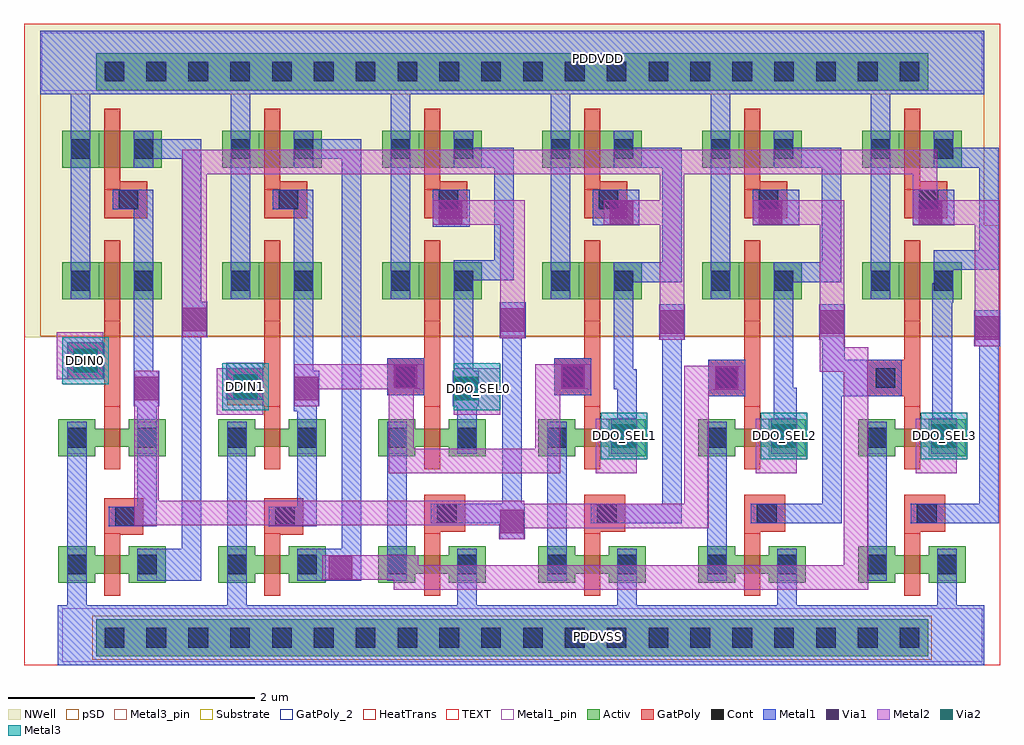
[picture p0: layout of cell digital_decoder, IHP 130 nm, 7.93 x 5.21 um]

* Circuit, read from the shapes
.subckt digital_decoder DDIN0 DDIN1 DDO_SEL0 DDO_SEL1 DDO_SEL2 DDO_SEL3 PDDVDD PDDVSS
XM1 n1 n2 PDDVSS PDDVSS sg13_lv_nmos w=0.15u l=0.13u
XM2 n2 DDIN0 PDDVSS PDDVSS sg13_lv_nmos w=0.15u l=0.13u
XM3 n3 n4 PDDVSS PDDVSS sg13_lv_nmos w=0.15u l=0.13u
XM4 n4 DDIN1 PDDVSS PDDVSS sg13_lv_nmos w=0.15u l=0.13u
XM5 PDDVSS n2 n5 PDDVSS sg13_lv_nmos w=0.15u l=0.13u
XM6 DDO_SEL0 n4 n5 PDDVSS sg13_lv_nmos w=0.15u l=0.13u
XM7 PDDVSS n1 n6 PDDVSS sg13_lv_nmos w=0.15u l=0.13u
XM8 DDO_SEL1 n4 n6 PDDVSS sg13_lv_nmos w=0.15u l=0.13u
XM9 PDDVSS n3 n7 PDDVSS sg13_lv_nmos w=0.15u l=0.13u
XM10 DDO_SEL2 n2 n7 PDDVSS sg13_lv_nmos w=0.15u l=0.13u
XM11 PDDVSS n1 n8 PDDVSS sg13_lv_nmos w=0.15u l=0.13u
XM12 DDO_SEL3 n3 n8 PDDVSS sg13_lv_nmos w=0.15u l=0.13u
XM13 n2 DDIN0 PDDVDD PDDVDD sg13_lv_pmos w=0.3u l=0.13u
XM14 n1 n2 PDDVDD PDDVDD sg13_lv_pmos w=0.3u l=0.13u
XM15 n4 DDIN1 PDDVDD PDDVDD sg13_lv_pmos w=0.3u l=0.13u
XM16 n3 n4 PDDVDD PDDVDD sg13_lv_pmos w=0.3u l=0.13u
XM17 DDO_SEL0 n4 PDDVDD PDDVDD sg13_lv_pmos w=0.3u l=0.13u
XM18 DDO_SEL0 n2 PDDVDD PDDVDD sg13_lv_pmos w=0.3u l=0.13u
XM19 DDO_SEL1 n4 PDDVDD PDDVDD sg13_lv_pmos w=0.3u l=0.13u
XM20 DDO_SEL1 n1 PDDVDD PDDVDD sg13_lv_pmos w=0.3u l=0.13u
XM21 DDO_SEL2 n2 PDDVDD PDDVDD sg13_lv_pmos w=0.3u l=0.13u
XM22 DDO_SEL2 n3 PDDVDD PDDVDD sg13_lv_pmos w=0.3u l=0.13u
XM23 DDO_SEL3 n3 PDDVDD PDDVDD sg13_lv_pmos w=0.3u l=0.13u
XM24 DDO_SEL3 n1 PDDVDD PDDVDD sg13_lv_pmos w=0.3u l=0.13u
.ends

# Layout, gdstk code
from math import pi, radians
import gdstk
lib = gdstk.Library(unit=1e-6, precision=5e-09)
def R(c, l, rs):  # rectangles x0, y0, x1, y1
    for r in rs: c.add(gdstk.rectangle(r[:2], r[2:], *l))
def A(c, l, x, y, w, h, nx, ny, dx, dy):  # array of equal rectangles
    R(c, l, [(x+i*dx, y+j*dy, x+i*dx+w, y+j*dy+h) for i in range(nx) for j in range(ny)])
Activ = (1, 0)
GatPoly = (5, 0)
GatPoly_2 = (5, 2)
Cont = (6, 0)
Metal1 = (8, 0)
Metal1_pin = (8, 2)
Metal2 = (10, 0)
pSD = (14, 0)
Via1 = (19, 0)
Via2 = (29, 0)
Metal3 = (30, 0)
Metal3_pin = (30, 2)
NWell = (31, 0)
Substrate = (40, 0)
HeatTrans = (51, 0)
TEXT = (63, 0)

pmos_1 = lib.new_cell('pmos$1')
R(pmos_1, Activ, [(0,0,0.3,0.3), (0,0,0.81,0.3), (0.51,0,0.81,0.3)])
R(pmos_1, GatPoly, [(0.34,-0.18,0.47,0.48), (0.34,-0.18,0.47,0.48)])
R(pmos_1, Cont, [(0.07,0.07,0.23,0.23), (0.58,0.07,0.74,0.23)])
R(pmos_1, Metal1, [(0.07,0,0.23,0.3), (0.07,0,0.23,0.3), (0.58,0,0.74,0.3), (0.58,0,0.74,0.3)])
R(pmos_1, pSD, [(-0.18,-0.3,0.99,0.6)])
R(pmos_1, NWell, [(-0.31,-0.31,1.12,0.61)])
R(pmos_1, Substrate, [(0.51,0,0.81,0.3)])
R(pmos_1, HeatTrans, [(0.34,-0.18,0.47,0.48)])
pmos_1.add(gdstk.Label('pmos', (0.405,0.15), layer=63, texttype=0))
pmos_1.add(gdstk.Label('pmos', (0.405,0.15), layer=51, texttype=0))

nmos = lib.new_cell('nmos')
R(nmos, Activ, [(0,0,0.3,0.3), (0.57,0,0.87,0.3), (0,0.075,0.87,0.225)])
R(nmos, GatPoly, [(0.37,-0.105,0.5,0.405)])
R(nmos, GatPoly_2, [(0.37,-0.105,0.5,0.405)])
R(nmos, Cont, [(0.07,0.07,0.23,0.23), (0.64,0.07,0.8,0.23)])
R(nmos, Metal1, [(0.07,0.02,0.23,0.28), (0.64,0.02,0.8,0.28)])
R(nmos, Metal1_pin, [(0.07,0.02,0.23,0.28), (0.64,0.02,0.8,0.28)])
R(nmos, HeatTrans, [(0.37,-0.105,0.5,0.405)])
nmos.add(gdstk.Label('nmos', (0.435,0.15), layer=63, texttype=0))
nmos.add(gdstk.Label('nmos', (0.435,0.15), layer=51, texttype=0))

via_stack_6 = lib.new_cell('via_stack$6')
R(via_stack_6, Activ, [(-3.38,-0.15,3.38,0.15)])
A(via_stack_6, Cont, -3.31, -0.08, 0.16, 0.16, 20, 1, 0.34, 0)
R(via_stack_6, Metal1, [(-3.36,-0.08,3.36,0.08)])

via_stack_2 = lib.new_cell('via_stack$2')
R(via_stack_2, GatPoly, [(-0.15,-0.15,0.15,0.15)])
R(via_stack_2, Cont, [(-0.08,-0.08,0.08,0.08)])
R(via_stack_2, Metal1, [(-0.13,-0.08,0.13,0.08)])

via_stack_1 = lib.new_cell('via_stack$1')
R(via_stack_1, Metal1, [(-0.145,-0.105,0.145,0.105)])
R(via_stack_1, Metal2, [(-0.145,-0.1,0.145,0.1)])
R(via_stack_1, Via1, [(-0.095,-0.095,0.095,0.095)])

via_stack_4 = lib.new_cell('via_stack$4')
R(via_stack_4, GatPoly, [(-0.15,-0.15,0.15,0.15)])
R(via_stack_4, Cont, [(-0.08,-0.08,0.08,0.08)])
R(via_stack_4, Metal1, [(-0.145,-0.105,0.145,0.105)])
R(via_stack_4, Metal2, [(-0.145,-0.1,0.145,0.1)])
R(via_stack_4, Via1, [(-0.095,-0.095,0.095,0.095)])
R(via_stack_4, Via2, [(-0.095,-0.095,0.095,0.095)])
R(via_stack_4, Metal3, [(-0.145,-0.1,0.145,0.1)])

via_stack_3 = lib.new_cell('via_stack$3')
R(via_stack_3, GatPoly, [(-0.15,-0.15,0.15,0.15)])
R(via_stack_3, Cont, [(-0.08,-0.08,0.08,0.08)])
R(via_stack_3, Metal1, [(-0.145,-0.105,0.145,0.105)])
R(via_stack_3, Metal2, [(-0.145,-0.1,0.145,0.1)])
R(via_stack_3, Via1, [(-0.095,-0.095,0.095,0.095)])

via_stack_5 = lib.new_cell('via_stack$5')
R(via_stack_5, Metal1, [(-0.145,-0.105,0.145,0.105)])
R(via_stack_5, Metal2, [(-0.145,-0.1,0.145,0.1)])
R(via_stack_5, Via1, [(-0.095,-0.095,0.095,0.095)])
R(via_stack_5, Via2, [(-0.095,-0.095,0.095,0.095)])
R(via_stack_5, Metal3, [(-0.145,-0.1,0.145,0.1)])

digital_decoder = lib.new_cell('digital_decoder')
A(digital_decoder, GatPoly, 4, 2.165, 0.13, 0.31, 4, 1, 1.3, 0)
A(digital_decoder, GatPoly, 1.4, 3.195, 0.13, 0.69, 6, 1, 1.3, 0)
A(digital_decoder, GatPoly, 1.4, 4.725, 0.05, 0.23, 6, 1, 1.3, 0)
R(digital_decoder, GatPoly, [(1.4,2.165,1.42,2.45), (2.7,2.165,2.72,2.45), (7.9,2.165,8.03,2.475)])
R(digital_decoder, Metal1, [(1.025,1.09,8.55,1.58), (1.1,1.53,1.26,1.78), (2.4,1.53,2.56,1.78), (6.87,1.53,7.03,1.78), (8.17,1.53,8.33,1.78), (1.83,1.78,2.19,2.04), (3.13,1.78,3.49,2.04), (6.84,3.07,6.87,3.185), (2.395,3.25,2.695,3.55), (6.31,3.275,6.61,3.575), (7.395,3.275,7.6,3.575), (7.6,3.275,7.88,3.575), (3.7,3.285,4,3.585), (5.06,3.285,5.36,3.585), (1.1,3.415,1.4,3.715), (7.395,3.575,7.42,3.735), (4.07,4.655,4.37,4.955), (5.37,4.665,5.75,4.955), (6.67,4.665,7.05,4.955), (7.97,4.665,8.31,4.955), (0.88,5.73,8.55,6.245)])
R(digital_decoder, Metal1_pin, [(1.06,1.12,8.535,1.555), (0.895,5.76,8.535,6.23)])
A(digital_decoder, Metal2, 5.395, 2.65, 0.335, 0.445, 3, 1, 1.3, 0)
R(digital_decoder, Metal2, [(2.315,3.125,2.695,3.505), (4.24,3.125,4.62,3.505), (4.24,3.125,4.62,3.505), (1.015,3.415,1.395,3.795)])
R(digital_decoder, pSD, [(1.305,1.135,8.125,1.495), (0.88,3.765,8.55,5.735), (8.55,3.765,8.68,4.665)])
A(digital_decoder, Metal3, 5.435, 2.765, 0.38, 0.38, 3, 1, 1.3, 0)
R(digital_decoder, Metal3, [(2.36,3.165,2.74,3.545), (4.24,3.165,4.62,3.545), (1.06,3.375,1.44,3.755)])
A(digital_decoder, Metal3_pin, 5.435, 2.765, 0.38, 0.38, 3, 1, 1.3, 0)
R(digital_decoder, Metal3_pin, [(2.36,3.165,2.74,3.545), (4.24,3.165,4.62,3.545), (1.06,3.375,1.44,3.755)])
R(digital_decoder, NWell, [(0.75,3.755,8.68,6.305)])
R(digital_decoder, TEXT, [(0.75,1.09,8.68,6.305)])
digital_decoder.add(gdstk.FlexPath([(3.81,5.435),(3.81,5.835)], 0.16, ends="flush", simple_path=True, layer=8, datatype=0))  # Metal1
digital_decoder.add(gdstk.FlexPath([(3.78,2.04),(3.78,2.81),(3.78,2.81)], 0.16, ends="flush", simple_path=True, layer=8, datatype=0))  # Metal1
digital_decoder.add(gdstk.FlexPath([(4.35,1.78),(4.35,1.555)], 0.16, ends="flush", simple_path=True, layer=8, datatype=0))  # Metal1
digital_decoder.add(gdstk.FlexPath([(3.81,4.365),(3.81,5.135)], 0.16, ends="flush", simple_path=True, layer=8, datatype=0))  # Metal1
digital_decoder.add(gdstk.FlexPath([(4.32,5.365),(4.32,5.215),(4.65,5.215),(4.65,4.3),(4.65,4.3),(4.32,4.3),(4.32,3.295),(4.35,3.295),(4.35,3.07)], 0.16, ends="flush", simple_path=True, layer=8, datatype=0))  # Metal1
digital_decoder.add(gdstk.FlexPath([(5.11,4.365),(5.11,5.835)], 0.16, ends="flush", simple_path=True, layer=8, datatype=0))  # Metal1
digital_decoder.add(gdstk.FlexPath([(5.62,4.135),(5.62,4.285),(6.015,4.285),(6.015,5.215),(5.62,5.215),(5.62,5.435)], 0.16, ends="flush", simple_path=True, layer=8, datatype=0))  # Metal1
digital_decoder.add(gdstk.FlexPath([(5.62,4.215),(5.62,3.415),(5.65,3.415),(5.65,3.07)], 0.16, ends="flush", simple_path=True, layer=8, datatype=0))  # Metal1
digital_decoder.add(gdstk.FlexPath([(5.08,2.81),(5.08,2.04)], 0.16, ends="flush", simple_path=True, layer=8, datatype=0))  # Metal1
digital_decoder.add(gdstk.FlexPath([(5.65,1.78),(5.65,1.5)], 0.16, ends="flush", simple_path=True, layer=8, datatype=0))  # Metal1
digital_decoder.add(gdstk.FlexPath([(6.41,4.365),(6.41,5.835)], 0.16, ends="flush", simple_path=True, layer=8, datatype=0))  # Metal1
digital_decoder.add(gdstk.FlexPath([(6.92,5.435),(6.92,5.215),(7.31,5.215),(7.31,4.285),(6.92,4.285),(6.92,4.065)], 0.16, ends="flush", simple_path=True, layer=8, datatype=0))  # Metal1
digital_decoder.add(gdstk.FlexPath([(6.92,4.135),(6.92,3.265),(6.95,3.265),(6.95,3.015),(6.95,3.015)], 0.16, ends="flush", simple_path=True, layer=8, datatype=0))  # Metal1
digital_decoder.add(gdstk.FlexPath([(6.38,2.86),(6.38,1.99)], 0.16, ends="flush", simple_path=True, layer=8, datatype=0))  # Metal1
digital_decoder.add(gdstk.FlexPath([(4.265,2.325),(4.715,2.325),(4.715,3.93),(4.715,3.93)], 0.16, ends="flush", simple_path=True, layer=8, datatype=0))  # Metal1
digital_decoder.add(gdstk.FlexPath([(5.565,2.325),(6.015,2.325),(6.015,3.93),(6.015,3.93)], 0.16, ends="flush", simple_path=True, layer=8, datatype=0))  # Metal1
digital_decoder.add(gdstk.FlexPath([(7.71,5.135),(7.71,4.365)], 0.16, ends="flush", simple_path=True, layer=8, datatype=0))  # Metal1
digital_decoder.add(gdstk.FlexPath([(6.865,2.325),(7.315,2.325),(7.315,3.93),(7.315,3.93)], 0.16, ends="flush", simple_path=True, layer=8, datatype=0))  # Metal1
digital_decoder.add(gdstk.FlexPath([(8.14,2.325),(8.59,2.325),(8.59,3.93),(8.59,3.93)], 0.16, ends="flush", simple_path=True, layer=8, datatype=0))  # Metal1
digital_decoder.add(gdstk.FlexPath([(8.22,4.365),(8.22,4.115),(8.21,4.115),(8.21,2.81),(8.21,2.81)], 0.16, ends="flush", simple_path=True, layer=8, datatype=0))  # Metal1
digital_decoder.add(gdstk.FlexPath([(7.71,5.365),(7.71,5.76)], 0.16, ends="flush", simple_path=True, layer=8, datatype=0))  # Metal1
digital_decoder.add(gdstk.FlexPath([(7.68,3.07),(7.68,2.04)], 0.16, ends="flush", simple_path=True, layer=8, datatype=0))  # Metal1
digital_decoder.add(gdstk.FlexPath([(8.22,4.185),(8.22,4.385),(8.59,4.385),(8.59,5.215),(8.22,5.215),(8.22,5.365)], 0.16, ends="flush", simple_path=True, layer=8, datatype=0))  # Metal1
digital_decoder.add(gdstk.FlexPath([(1.75,2.96),(1.75,3.275),(1.72,3.275),(1.72,4.065)], 0.16, ends="flush", simple_path=True, layer=8, datatype=0))  # Metal1
digital_decoder.add(gdstk.FlexPath([(1.21,4.365),(1.21,5.735)], 0.16, ends="flush", simple_path=True, layer=8, datatype=0))  # Metal1
digital_decoder.add(gdstk.FlexPath([(3.02,4.065),(3.02,3.235),(3.05,3.235),(3.05,3.07)], 0.16, ends="flush", simple_path=True, layer=8, datatype=0))  # Metal1
digital_decoder.add(gdstk.FlexPath([(1.8,5.285),(2.11,5.285),(2.11,1.91),(1.83,1.91)], 0.16, ends="flush", simple_path=True, layer=8, datatype=0))  # Metal1
digital_decoder.add(gdstk.FlexPath([(2.51,4.365),(2.51,5.735)], 0.16, ends="flush", simple_path=True, layer=8, datatype=0))  # Metal1
digital_decoder.add(gdstk.FlexPath([(3.1,5.285),(3.41,5.285),(3.41,1.91),(3.13,1.91)], 0.16, ends="flush", simple_path=True, layer=8, datatype=0))  # Metal1
digital_decoder.add(gdstk.FlexPath([(1.72,4.365),(1.72,4.875),(1.47,4.875)], 0.16, ends="flush", simple_path=True, layer=8, datatype=0))  # Metal1
digital_decoder.add(gdstk.FlexPath([(3.02,4.365),(3.02,4.875),(2.77,4.875)], 0.16, ends="flush", simple_path=True, layer=8, datatype=0))  # Metal1
digital_decoder.add(gdstk.FlexPath([(1.18,2.81),(1.18,2.04)], 0.16, ends="flush", simple_path=True, layer=8, datatype=0))  # Metal1
digital_decoder.add(gdstk.FlexPath([(1.75,2.81),(1.75,2.3),(1.7,2.3)], 0.16, ends="flush", simple_path=True, layer=8, datatype=0))  # Metal1
digital_decoder.add(gdstk.FlexPath([(3.05,2.81),(3.05,2.3),(3,2.3)], 0.16, ends="flush", simple_path=True, layer=8, datatype=0))  # Metal1
digital_decoder.add(gdstk.FlexPath([(2.48,2.81),(2.48,2.04)], 0.16, ends="flush", simple_path=True, layer=8, datatype=0))  # Metal1
digital_decoder.add(gdstk.FlexPath([(4.31,4.77),(4.72,4.77),(4.72,3.99),(4.72,3.99)], 0.2, ends="flush", simple_path=True, layer=10, datatype=0))  # Metal2
digital_decoder.add(gdstk.FlexPath([(5.605,4.77),(6.015,4.77),(6.015,3.99),(6.015,3.99)], 0.2, ends="flush", simple_path=True, layer=10, datatype=0))  # Metal2
digital_decoder.add(gdstk.FlexPath([(6.905,4.77),(7.315,4.77),(7.315,3.99),(7.315,3.99)], 0.2, ends="flush", simple_path=True, layer=10, datatype=0))  # Metal2
digital_decoder.add(gdstk.FlexPath([(8.575,3.925),(8.575,4.77),(8.21,4.77)], 0.2, ends="flush", simple_path=True, layer=10, datatype=0))  # Metal2
digital_decoder.add(gdstk.FlexPath([(3.045,3.245),(3.045,3.435),(3.815,3.435),(3.815,2.75),(5.005,2.75),(5.005,3.435),(5.29,3.435)], 0.2, ends="flush", simple_path=True, layer=10, datatype=0))  # Metal2
digital_decoder.add(gdstk.FlexPath([(6.015,4.77),(6.015,5.28)], 0.2, ends="flush", simple_path=True, layer=10, datatype=0))  # Metal2
digital_decoder.add(gdstk.FlexPath([(1.745,3.245),(1.745,2.33),(4.715,2.33),(4.715,2.205),(4.715,2.205)], 0.2, ends="flush", simple_path=True, layer=10, datatype=0))  # Metal2
digital_decoder.add(gdstk.FlexPath([(6.555,3.425),(6.215,3.425),(6.215,2.305),(4.715,2.305),(4.715,2.305)], 0.2, ends="flush", simple_path=True, layer=10, datatype=0))  # Metal2
digital_decoder.add(gdstk.FlexPath([(6.015,5.18),(8.07,5.18),(8.07,4.67)], 0.2, ends="flush", simple_path=True, layer=10, datatype=0))  # Metal2
digital_decoder.add(gdstk.FlexPath([(3.175,1.885),(3.855,1.885),(3.855,1.805),(7.51,1.805),(7.51,3.575),(7.315,3.575),(7.315,3.975)], 0.2, ends="flush", simple_path=True, layer=10, datatype=0))  # Metal2
digital_decoder.add(gdstk.FlexPath([(2.135,4.045),(2.135,5.18),(6.015,5.18)], 0.2, ends="flush", simple_path=True, layer=10, datatype=0))  # Metal2
digital_decoder.add(gdstk.Reference(pmos_1, (1.87,5.435), rotation=pi))
digital_decoder.add(gdstk.Reference(pmos_1, (3.17,5.435), rotation=pi))
digital_decoder.add(gdstk.Reference(pmos_1, (1.87,4.365), rotation=pi))
digital_decoder.add(gdstk.Reference(pmos_1, (4.47,5.435), rotation=pi))
digital_decoder.add(gdstk.Reference(pmos_1, (5.77,5.435), rotation=pi))
digital_decoder.add(gdstk.Reference(pmos_1, (7.07,5.435), rotation=pi))
digital_decoder.add(gdstk.Reference(pmos_1, (8.37,5.435), rotation=pi))
digital_decoder.add(gdstk.Reference(pmos_1, (8.37,4.365), rotation=pi))
digital_decoder.add(gdstk.Reference(pmos_1, (8.37,4.365), rotation=pi))
digital_decoder.add(gdstk.Reference(nmos, (7.53,1.76)))
digital_decoder.add(gdstk.Reference(nmos, (7.53,2.79)))
digital_decoder.add(gdstk.Reference(nmos, (6.23,1.76)))
digital_decoder.add(gdstk.Reference(nmos, (6.23,2.79)))
digital_decoder.add(gdstk.Reference(nmos, (4.93,1.76)))
digital_decoder.add(gdstk.Reference(nmos, (4.93,2.79)))
digital_decoder.add(gdstk.Reference(nmos, (3.63,1.76)))
digital_decoder.add(gdstk.Reference(pmos_1, (5.77,4.365), rotation=pi))
digital_decoder.add(gdstk.Reference(nmos, (3.63,2.79)))
digital_decoder.add(gdstk.Reference(pmos_1, (7.07,4.365), rotation=pi))
digital_decoder.add(gdstk.Reference(nmos, (2.33,1.76)))
digital_decoder.add(gdstk.Reference(nmos, (2.33,2.79)))
digital_decoder.add(gdstk.Reference(nmos, (1.03,1.76)))
digital_decoder.add(gdstk.Reference(pmos_1, (5.77,4.365), rotation=pi))
digital_decoder.add(gdstk.Reference(pmos_1, (4.47,4.365), rotation=pi))
digital_decoder.add(gdstk.Reference(pmos_1, (3.17,4.365), rotation=pi))
digital_decoder.add(gdstk.Reference(nmos, (1.03,2.79)))
digital_decoder.add(gdstk.Reference(via_stack_6, (4.715,5.915)))
digital_decoder.add(gdstk.Reference(via_stack_2, (1.6,4.875), rotation=pi))
digital_decoder.add(gdstk.Reference(via_stack_2, (2.9,4.875), rotation=pi))
digital_decoder.add(gdstk.Reference(via_stack_2, (1.57,2.3)))
digital_decoder.add(gdstk.Reference(via_stack_2, (2.87,2.3)))
digital_decoder.add(gdstk.Reference(via_stack_1, (1.745,3.34), rotation=3*pi/2))
digital_decoder.add(gdstk.Reference(via_stack_4, (1.25,3.565)))
digital_decoder.add(gdstk.Reference(via_stack_4, (2.55,3.355)))
digital_decoder.add(gdstk.Reference(via_stack_1, (3.32,1.885), rotation=pi))
digital_decoder.add(gdstk.Reference(via_stack_2, (4.185,2.325)))
digital_decoder.add(gdstk.Reference(via_stack_2, (4.2,4.875), rotation=pi, x_reflection=True))
digital_decoder.add(gdstk.Reference(via_stack_2, (5.5,4.875), rotation=pi, x_reflection=True))
digital_decoder.add(gdstk.Reference(via_stack_1, (4.215,4.77), rotation=pi, x_reflection=True))
digital_decoder.add(gdstk.Reference(via_stack_1, (5.605,4.77), rotation=pi, x_reflection=True))
digital_decoder.add(gdstk.Reference(via_stack_2, (5.485,2.325)))
digital_decoder.add(gdstk.Reference(via_stack_1, (4.72,3.895), rotation=3*pi/2))
digital_decoder.add(gdstk.Reference(via_stack_2, (6.8,4.875), rotation=pi, x_reflection=True))
digital_decoder.add(gdstk.Reference(via_stack_1, (6.815,4.77), rotation=pi, x_reflection=True))
digital_decoder.add(gdstk.Reference(via_stack_2, (6.785,2.325)))
digital_decoder.add(gdstk.Reference(via_stack_3, (3.85,3.435)))
digital_decoder.add(gdstk.Reference(via_stack_2, (8.085,2.325)))
digital_decoder.add(gdstk.Reference(via_stack_5, (4.34,3.34), rotation=3*pi/2, x_reflection=True))
digital_decoder.add(gdstk.Reference(via_stack_2, (7.75,3.425)))
digital_decoder.add(gdstk.Reference(via_stack_2, (8.1,4.875), rotation=pi, x_reflection=True))
digital_decoder.add(gdstk.Reference(via_stack_1, (8.115,4.77), rotation=pi, x_reflection=True))
digital_decoder.add(gdstk.Reference(via_stack_1, (3.045,3.34), rotation=3*pi/2))
digital_decoder.add(gdstk.Reference(via_stack_5, (5.625,2.955), rotation=3*pi/2))
digital_decoder.add(gdstk.Reference(via_stack_5, (6.925,2.955), rotation=3*pi/2))
digital_decoder.add(gdstk.Reference(via_stack_5, (8.225,2.955), rotation=3*pi/2))
digital_decoder.add(gdstk.Reference(via_stack_3, (6.46,3.425)))
digital_decoder.add(gdstk.Reference(via_stack_6, (4.715,1.315)))
digital_decoder.add(gdstk.Reference(via_stack_1, (7.315,3.88), rotation=3*pi/2))
digital_decoder.add(gdstk.Reference(via_stack_3, (5.21,3.435)))
digital_decoder.add(gdstk.Reference(via_stack_1, (8.575,3.83), rotation=3*pi/2))
digital_decoder.add(gdstk.Reference(via_stack_1, (2.135,3.9), rotation=3*pi/2))
digital_decoder.add(gdstk.Reference(via_stack_1, (4.715,2.26), rotation=3*pi/2))
digital_decoder.add(gdstk.Reference(via_stack_1, (6.015,3.88), rotation=3*pi/2))
digital_decoder.add(gdstk.Label('PDDVDD', (5.415,6.02), layer=8, texttype=25))
digital_decoder.add(gdstk.Label('PDDVSS', (5.415,1.325), layer=8, texttype=25))
digital_decoder.add(gdstk.Label('DDO_SEL3', (8.225,2.955), layer=30, texttype=25))
digital_decoder.add(gdstk.Label('DDO_SEL1', (5.625,2.955), layer=30, texttype=25))
digital_decoder.add(gdstk.Label('DDO_SEL2', (6.925,2.955), layer=30, texttype=25))
digital_decoder.add(gdstk.Label('DDO_SEL0', (4.445,3.34), layer=30, texttype=25))
digital_decoder.add(gdstk.Label('DDIN0', (1.25,3.565), layer=30, texttype=25))
digital_decoder.add(gdstk.Label('DDIN1', (2.55,3.355), layer=30, texttype=25))

lib.write_gds('digital_decoder.gds')
